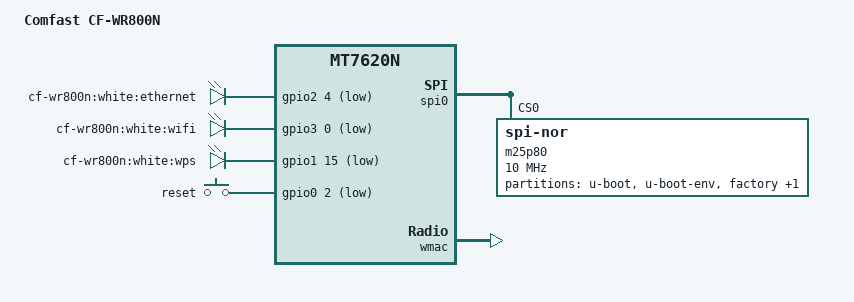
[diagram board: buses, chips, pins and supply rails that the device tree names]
/dts-v1/;

#include "mt7620n.dtsi"

#include <dt-bindings/gpio/gpio.h>
#include <dt-bindings/input/input.h>

/ {
	compatible = "comfast,cf-wr800n", "ralink,mt7620n-soc";
	model = "Comfast CF-WR800N";

	aliases {
		led-status = &led_wps;
	};

	chosen {
		bootargs = "console=ttyS0,115200";
	};

	gpio-leds {
		compatible = "gpio-leds";

		ethernet {
			label = "cf-wr800n:white:ethernet";
			gpios = <&gpio2 4 GPIO_ACTIVE_LOW>;
		};

		wifi {
			label = "cf-wr800n:white:wifi";
			gpios = <&gpio3 0 GPIO_ACTIVE_LOW>;
		};

		led_wps: wps {
			label = "cf-wr800n:white:wps";
			gpios = <&gpio1 15 GPIO_ACTIVE_LOW>;
		};
	};

	gpio-keys-polled {
		compatible = "gpio-keys-polled";
		poll-interval = <20>;

		reset {
			label = "reset";
			gpios = <&gpio0 2 GPIO_ACTIVE_LOW>;
			linux,code = <KEY_RESTART>;
		};
	};
};

&gpio0 {
	status = "okay";
};

&gpio1 {
	status = "okay";
};

&gpio2 {
	status = "okay";
};

&gpio3 {
	status = "okay";
};

&spi0 {
	status = "okay";

	m25p80@0 {
		compatible = "jedec,spi-nor";
		reg = <0>;
		spi-max-frequency = <10000000>;

		partitions {
			compatible = "fixed-partitions";
			#address-cells = <1>;
			#size-cells = <1>;

			partition@0 {
				label = "u-boot";
				reg = <0x0 0x30000>;
				read-only;
			};

			partition@30000 {
				label = "u-boot-env";
				reg = <0x30000 0x10000>;
				read-only;
			};

			factory: partition@40000 {
				label = "factory";
				reg = <0x40000 0x10000>;
				read-only;
			};

			partition@50000 {
				label = "firmware";
				reg = <0x50000 0x7b0000>;
			};
		};
	};
};

&ethernet {
	mtd-mac-address = <&factory 0x4>;
};

&wmac {
	ralink,mtd-eeprom = <&factory 0>;
};

&pinctrl {
	state_default: pinctrl0 {
		default {
			ralink,group = "ephy", "wled", "spi refclk", "i2c";
			ralink,function = "gpio";
		};
	};
};
